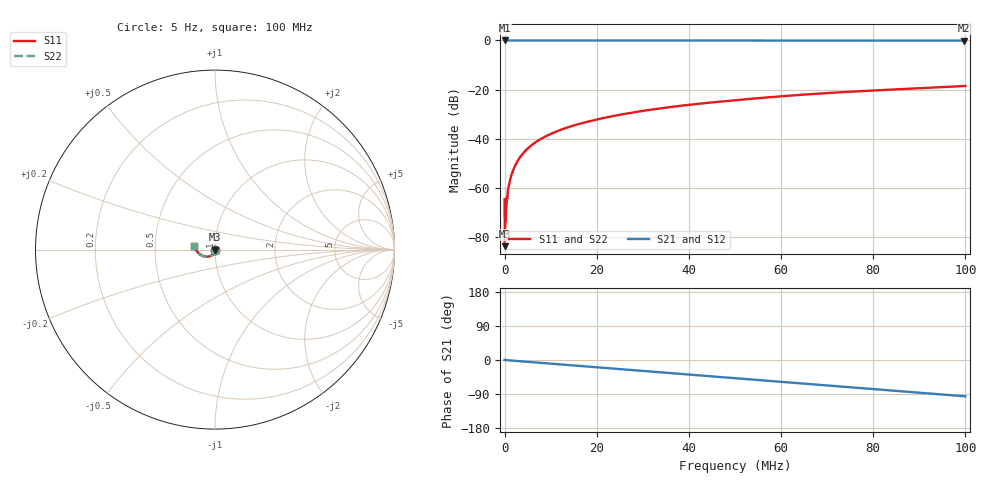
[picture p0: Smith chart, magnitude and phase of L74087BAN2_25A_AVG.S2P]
!Agilent Technologies,E5061B,MY49102235,A.02.00
!Date: Mon Jul 10 16:50:14 2023
!Data & Calibration Information:
!Freq	S11:SOLT2(ON)	S21:SOLT2(ON)	S12:SOLT2(ON)	S22:SOLT2(ON)
# Hz S RI R 50
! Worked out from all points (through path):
!   1600 points, 5 Hz to 100 MHz, reference 50 ohm
!   highest |S21| = 0.02 dB at 5 Hz (marker M1); lowest = -0.1 dB at 99.62 MHz (marker M2)
!   group delay of S21, straight-line fit = 2.66 ns
!   lowest |S11| = -83.8 dB at 62.54 kHz (marker M3), VSWR 1.00, Z = 50 - j0.00292 ohm
!   |S11| at or under -10 dB: start of sweep to end of sweep
!   |S22| runs from -77.4 to -18.5 dB; largest |S21 - S12| = 0.0026
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5  -0.000385 0.00044  1.002 0.00226  1.001 3.29e-06  -0.000154 -6.59e-05
62544.08  -5.78e-05 -2.92e-05  1 -0.000994  1 -0.000587  1.72e-05 -0.000134
250161.3  3.17e-05 -0.000205  0.9999 -0.00454  0.9997 -0.00416  2.04e-05 -0.000227
562856.8  0.000116 -0.000579  0.9998 -0.00971  0.9996 -0.00933  5.65e-05 -0.000627
687934.9  -3.03e-05 -0.000835  1 -0.0116  1 -0.0116  1.02e-05 -0.000761
813013.1  -7.52e-05 -0.000976  1 -0.0139  0.9991 -0.0132  -8.1e-05 -0.00101
1063169  -7.88e-05 -0.00126  1.001 -0.0178  1 -0.0179  -5.31e-05 -0.00133
1250787  -8.49e-05 -0.00151  0.9999 -0.0213  0.999 -0.0205  -5.35e-05 -0.0015
1688560  -3.68e-05 -0.00207  1 -0.0288  0.9994 -0.028  -6.03e-05 -0.00208
2313951  -0.000104 -0.00287  0.9991 -0.0393  0.9989 -0.0381  -6.62e-05 -0.00292
3689811  -0.000257 -0.00462  0.9982 -0.0621  0.9978 -0.0616  -0.000327 -0.00463
5753601  -0.000611 -0.00721  0.9953 -0.0966  0.9952 -0.096  -0.000664 -0.00713
8692938  -0.00147 -0.0108  0.9892 -0.1454  0.9891 -0.1447  -0.00162 -0.0107
1.250782e7  -0.00314 -0.0152  0.9779 -0.2082  0.9778 -0.2079  -0.00313 -0.0151
1.669794e7  -0.00571 -0.0198  0.9609 -0.2761  0.9608 -0.2758  -0.00554 -0.0198
2.445279e7  -0.0123 -0.0273  0.917 -0.3982  0.9167 -0.398  -0.012 -0.0277
3.333334e7  -0.0224 -0.0342  0.8473 -0.5294  0.8473 -0.5291  -0.0219 -0.0349
5.003127e7  -0.0465 -0.0391  0.6676 -0.7419  0.6676 -0.7419  -0.0464 -0.0401
6.672921e7  -0.0745 -0.032  0.4366 -0.896  0.4365 -0.8954  -0.0743 -0.0334
8.33646e7  -0.0987 -0.0114  0.1728 -0.9795  0.1728 -0.9792  -0.0989 -0.0134
9.962477e7  -0.1162 0.0209  -0.0955 -0.9881  -0.0956 -0.9876  -0.1172 0.0178
1e8  -0.1165 0.0217  -0.1017 -0.9876  -0.1018 -0.987  -0.1176 0.0186
